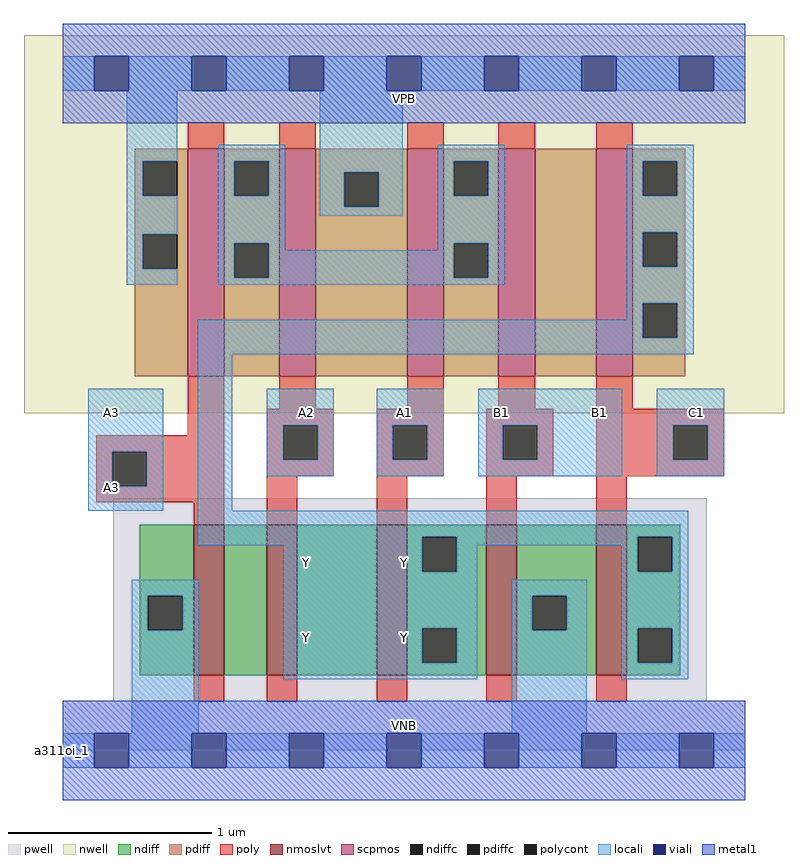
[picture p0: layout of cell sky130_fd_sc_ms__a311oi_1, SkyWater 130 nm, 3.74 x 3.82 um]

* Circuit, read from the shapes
.subckt sky130_fd_sc_ms__a311oi_1 A1 A2 A3 B1 C1 VGND VNB VPB VPWR Y
XM1 n1 A3 VGND VNB sky130_fd_pr__nfet_01v8_lvt w=0.74 l=0.15
XM2 n2 A2 n1 VNB sky130_fd_pr__nfet_01v8_lvt w=0.74 l=0.15
XM3 Y A1 n2 VNB sky130_fd_pr__nfet_01v8_lvt w=0.74 l=0.15
XM4 VGND B1 Y VNB sky130_fd_pr__nfet_01v8_lvt w=0.74 l=0.15
XM5 Y C1 VGND VNB sky130_fd_pr__nfet_01v8_lvt w=0.74 l=0.15
XM6 n3 A3 VPWR VPB sky130_fd_pr__pfet_01v8 w=1.12 l=0.18
XM7 VPWR A2 n3 VPB sky130_fd_pr__pfet_01v8 w=1.12 l=0.18
XM8 n3 A1 VPWR VPB sky130_fd_pr__pfet_01v8 w=1.12 l=0.18
XM9 n4 B1 n3 VPB sky130_fd_pr__pfet_01v8 w=1.12 l=0.18
XM10 Y C1 n4 VPB sky130_fd_pr__pfet_01v8 w=1.12 l=0.18
.ends

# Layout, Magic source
magic
tech sky130A
magscale 1 2
<< nwell >>
rect -38 332 710 704
<< pwell >>
rect 50 49 634 248
rect 0 0 672 49
<< scpmos >>
rect 123 368 159 592
rect 213 368 249 592
rect 339 368 375 592
rect 429 368 465 592
rect 525 368 561 592
<< nmoslvt >>
rect 129 74 159 222
rect 201 74 231 222
rect 309 74 339 222
rect 417 74 447 222
rect 525 74 555 222
<< ndiff >>
rect 76 152 129 222
rect 76 118 84 152
rect 118 118 129 152
rect 76 74 129 118
rect 159 74 201 222
rect 231 74 309 222
rect 339 210 417 222
rect 339 176 354 210
rect 388 176 417 210
rect 339 120 417 176
rect 339 86 354 120
rect 388 86 417 120
rect 339 74 417 86
rect 447 152 525 222
rect 447 118 462 152
rect 496 118 525 152
rect 447 74 525 118
rect 555 210 608 222
rect 555 176 566 210
rect 600 176 608 210
rect 555 120 608 176
rect 555 86 566 120
rect 600 86 608 120
rect 555 74 608 86
<< pdiff >>
rect 71 580 123 592
rect 71 546 79 580
rect 113 546 123 580
rect 71 508 123 546
rect 71 474 79 508
rect 113 474 123 508
rect 71 368 123 474
rect 159 580 213 592
rect 159 546 169 580
rect 203 546 213 580
rect 159 499 213 546
rect 159 465 169 499
rect 203 465 213 499
rect 159 368 213 465
rect 249 569 339 592
rect 249 535 277 569
rect 311 535 339 569
rect 249 368 339 535
rect 375 580 429 592
rect 375 546 385 580
rect 419 546 429 580
rect 375 499 429 546
rect 375 465 385 499
rect 419 465 429 499
rect 375 368 429 465
rect 465 368 525 592
rect 561 580 613 592
rect 561 546 571 580
rect 605 546 613 580
rect 561 510 613 546
rect 561 476 571 510
rect 605 476 613 510
rect 561 440 613 476
rect 561 406 571 440
rect 605 406 613 440
rect 561 368 613 406
<< ndiffc >>
rect 84 118 118 152
rect 354 176 388 210
rect 354 86 388 120
rect 462 118 496 152
rect 566 176 600 210
rect 566 86 600 120
<< pdiffc >>
rect 79 546 113 580
rect 79 474 113 508
rect 169 546 203 580
rect 169 465 203 499
rect 277 535 311 569
rect 385 546 419 580
rect 385 465 419 499
rect 571 546 605 580
rect 571 476 605 510
rect 571 406 605 440
<< poly >>
rect 123 592 159 618
rect 213 592 249 618
rect 339 592 375 618
rect 429 592 465 618
rect 525 592 561 618
rect 123 310 159 368
rect 213 336 249 368
rect 339 336 375 368
rect 429 336 465 368
rect 525 336 561 368
rect 33 294 159 310
rect 33 260 49 294
rect 83 260 159 294
rect 33 244 159 260
rect 129 222 159 244
rect 201 320 267 336
rect 201 286 217 320
rect 251 286 267 320
rect 201 270 267 286
rect 309 320 375 336
rect 309 286 325 320
rect 359 286 375 320
rect 309 270 375 286
rect 417 320 483 336
rect 417 286 433 320
rect 467 286 483 320
rect 417 270 483 286
rect 525 320 651 336
rect 525 286 601 320
rect 635 286 651 320
rect 525 270 651 286
rect 201 222 231 270
rect 309 222 339 270
rect 417 222 447 270
rect 525 222 555 270
rect 129 48 159 74
rect 201 48 231 74
rect 309 48 339 74
rect 417 48 447 74
rect 525 48 555 74
<< polycont >>
rect 49 260 83 294
rect 217 286 251 320
rect 325 286 359 320
rect 433 286 467 320
rect 601 286 635 320
<< locali >>
rect 0 649 31 683
rect 65 649 127 683
rect 161 649 223 683
rect 257 649 319 683
rect 353 649 415 683
rect 449 649 511 683
rect 545 649 607 683
rect 641 649 672 683
rect 63 580 113 649
rect 63 546 79 580
rect 63 508 113 546
rect 63 474 79 508
rect 63 458 113 474
rect 153 580 219 596
rect 153 546 169 580
rect 203 546 219 580
rect 153 499 219 546
rect 253 569 335 649
rect 253 535 277 569
rect 311 535 335 569
rect 253 526 335 535
rect 369 580 435 596
rect 369 546 385 580
rect 419 546 435 580
rect 153 465 169 499
rect 203 492 219 499
rect 369 499 435 546
rect 369 492 385 499
rect 203 465 385 492
rect 419 465 435 499
rect 153 458 435 465
rect 555 580 621 596
rect 555 546 571 580
rect 605 546 621 580
rect 555 510 621 546
rect 555 476 571 510
rect 605 476 621 510
rect 555 440 621 476
rect 555 424 571 440
rect 133 406 571 424
rect 605 406 621 440
rect 133 390 621 406
rect 25 294 99 356
rect 25 260 49 294
rect 83 260 99 294
rect 25 236 99 260
rect 133 236 167 390
rect 201 320 267 356
rect 201 286 217 320
rect 251 286 267 320
rect 201 270 267 286
rect 309 320 375 356
rect 309 286 325 320
rect 359 286 375 320
rect 309 270 375 286
rect 409 320 551 356
rect 409 286 433 320
rect 467 286 551 320
rect 409 270 551 286
rect 585 320 651 356
rect 585 286 601 320
rect 635 286 651 320
rect 585 270 651 286
rect 133 210 616 236
rect 133 202 354 210
rect 217 176 354 202
rect 388 202 566 210
rect 388 176 408 202
rect 68 152 134 168
rect 68 118 84 152
rect 118 118 134 152
rect 68 17 134 118
rect 217 120 408 176
rect 550 176 566 202
rect 600 176 616 210
rect 217 86 354 120
rect 388 86 408 120
rect 217 70 408 86
rect 442 152 516 168
rect 442 118 462 152
rect 496 118 516 152
rect 442 17 516 118
rect 550 120 616 176
rect 550 86 566 120
rect 600 86 616 120
rect 550 70 616 86
rect 0 -17 31 17
rect 65 -17 127 17
rect 161 -17 223 17
rect 257 -17 319 17
rect 353 -17 415 17
rect 449 -17 511 17
rect 545 -17 607 17
rect 641 -17 672 17
<< viali >>
rect 31 649 65 683
rect 127 649 161 683
rect 223 649 257 683
rect 319 649 353 683
rect 415 649 449 683
rect 511 649 545 683
rect 607 649 641 683
rect 31 -17 65 17
rect 127 -17 161 17
rect 223 -17 257 17
rect 319 -17 353 17
rect 415 -17 449 17
rect 511 -17 545 17
rect 607 -17 641 17
<< metal1 >>
rect 0 683 672 715
rect 0 649 31 683
rect 65 649 127 683
rect 161 649 223 683
rect 257 649 319 683
rect 353 649 415 683
rect 449 649 511 683
rect 545 649 607 683
rect 641 649 672 683
rect 0 617 672 649
rect 0 17 672 49
rect 0 -17 31 17
rect 65 -17 127 17
rect 161 -17 223 17
rect 257 -17 319 17
rect 353 -17 415 17
rect 449 -17 511 17
rect 545 -17 607 17
rect 641 -17 672 17
rect 0 -49 672 -17
<< labels >>
flabel pwell s 0 0 672 49 0 FreeSans 200 0 0 0 VNB
port 7 nsew ground bidirectional
flabel nwell s 0 617 672 666 0 FreeSans 200 0 0 0 VPB
port 8 nsew power bidirectional
rlabel comment s 0 0 0 0 4 a311oi_1
flabel metal1 s 0 617 672 666 0 FreeSans 340 0 0 0 VPWR
port 9 nsew power bidirectional
flabel metal1 s 0 0 672 49 0 FreeSans 340 0 0 0 VGND
port 6 nsew ground bidirectional
flabel locali s 607 316 641 350 0 FreeSans 340 0 0 0 C1
port 5 nsew signal input
flabel locali s 415 316 449 350 0 FreeSans 340 0 0 0 B1
port 4 nsew signal input
flabel locali s 511 316 545 350 0 FreeSans 340 0 0 0 B1
port 4 nsew signal input
flabel locali s 31 242 65 276 0 FreeSans 340 0 0 0 A3
port 3 nsew signal input
flabel locali s 31 316 65 350 0 FreeSans 340 0 0 0 A3
port 3 nsew signal input
flabel locali s 223 316 257 350 0 FreeSans 340 0 0 0 A2
port 2 nsew signal input
flabel locali s 319 316 353 350 0 FreeSans 340 0 0 0 A1
port 1 nsew signal input
flabel locali s 223 94 257 128 0 FreeSans 340 0 0 0 Y
port 10 nsew signal output
flabel locali s 223 168 257 202 0 FreeSans 340 0 0 0 Y
port 10 nsew signal output
flabel locali s 319 94 353 128 0 FreeSans 340 0 0 0 Y
port 10 nsew signal output
flabel locali s 319 168 353 202 0 FreeSans 340 0 0 0 Y
port 10 nsew signal output
<< properties >>
string LEFsite unit
string LEFclass CORE
string FIXED_BBOX 0 0 672 666
string GDS_FILE $PDKPATH/libs.ref/sky130_fd_sc_ms/gds/sky130_fd_sc_ms.gds
string LEFsymmetry X Y
string GDS_END 2035268
string GDS_START 2028940
<< end >>
